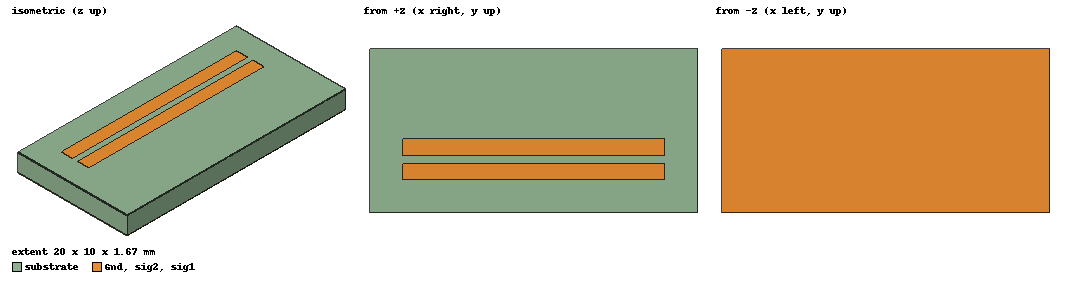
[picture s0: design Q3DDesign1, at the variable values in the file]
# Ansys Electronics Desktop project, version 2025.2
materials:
  vacuum: permittivity=1
  copper: permeability=0.999991 conductivity=58000000
  FR4_epoxy: permittivity=4.4 dielectric_loss_tangent=0.02

design Q3DDesign1 (Q3D Extractor, model units mm)
options: SParamCalcMethod=EqTransLine Calculate_Lossy_Dielectrics
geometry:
  substrate [FR4_epoxy] = box(corner=(0mm, 0mm, 0mm), size=(20mm, 10mm, 1.6mm))
  Gnd [copper] = box(corner=(0mm, 0mm, -0.035mm), size=(20mm, 10mm, 0.035mm))
  sig1 [copper] = box(corner=(2mm, 2mm, 1.6mm), size=(16mm, 1mm, 0.035mm))
  sig2 [copper] = box(corner=(2mm, 3.5mm, 1.6mm), size=(16mm, 1mm, 0.035mm))
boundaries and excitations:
  Sink1: Sink Faces=sig1.face(+x) TerminalType=ConstantVoltage Net=sig1
  sig2: SignalNet Objects=sig2
  sig1: SignalNet Objects=sig1
  Gnd: SignalNet Objects=Gnd
  Source1: Source Faces=sig1.face(-x) TerminalType=ConstantVoltage Net=sig1
  Source2: Source Faces=sig2.face(-x) TerminalType=ConstantVoltage Net=sig2
  Sink2: Sink Faces=sig2.face(+x) TerminalType=ConstantVoltage Net=sig2
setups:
  Setup1: Matrix AdaptiveFreq=100MHz Cap{MaxPass=10 MinPass=1 MinConvPass=1 PerError=1 PerRefine=30 AutoIncreaseAccuracy AccuracyLevel=High Solver_Type=Iterative} DC{Cond{MaxPass=10 MinPass=1 MinConvPass=1 PerError=1 PerRefine=30} Mult{MaxPass=1 MinPass=1 MinConvPass=1 PerError=1 PerRefine=30} AccuracyLevel=Normal} AC{MaxPass=10 MinPass=1 MinConvPass=1 PerError=1 PerRefine=30 ACRLSolverType=ACA} ErrorValue=0.1
  Setup2: Matrix AdaptiveFreq=1GHz Cap{MaxPass=10 MinPass=1 MinConvPass=1 PerError=1 PerRefine=30 AutoIncreaseAccuracy AccuracyLevel=High Solver_Type=Iterative} DC{Cond{MaxPass=10 MinPass=1 MinConvPass=1 PerError=1 PerRefine=30} Mult{MaxPass=1 MinPass=1 MinConvPass=1 PerError=1 PerRefine=30} AccuracyLevel=Normal} AC{MaxPass=10 MinPass=1 MinConvPass=1 PerError=1 PerRefine=30 ACRLSolverType=ACA} ErrorValue=0.1
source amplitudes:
  sig1:Source1: AC R/L Fields 1A 0deg
  sig2:Source2: AC R/L Fields 0A 0deg
  Gnd: CG Fields 1V 0deg
  sig1, sig2: CG Fields 0V 0deg
  sig1:Source1: DC R/L Fields 1A 0deg
  sig2:Source2: DC R/L Fields 0A 0deg
